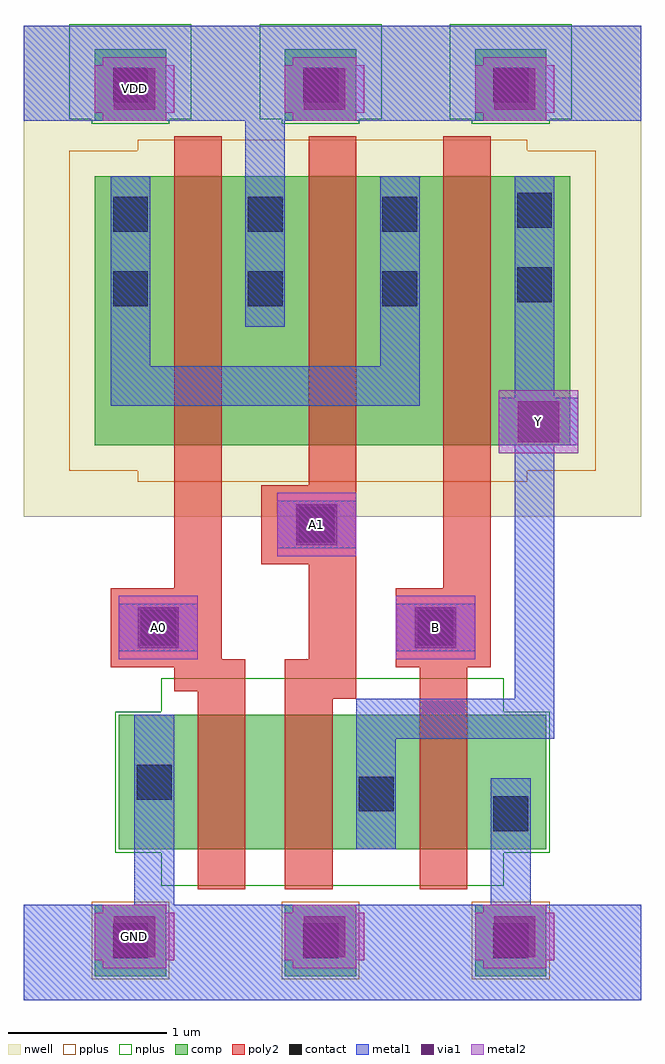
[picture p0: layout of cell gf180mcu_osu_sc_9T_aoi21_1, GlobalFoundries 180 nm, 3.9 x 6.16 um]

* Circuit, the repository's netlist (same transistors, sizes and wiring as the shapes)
* NGSPICE file created from gf180mcu_osu_sc_9T_aoi21_1.ext - technology: gf180mcuC

.inc "/import/yukari1/lrburle/globalfoundries-pdk-libs-gf180mcu_osu_sc/char/techfiles/design.hspice"
.lib "/import/yukari1/lrburle/globalfoundries-pdk-libs-gf180mcu_osu_sc/char/techfiles/sm141064.hspice" typical

X0 a_9_70# A1 VDD VDD pmos_3p3 w=1.7u l=0.3u
X1 GND B Y GND nmos_3p3 w=0.85u l=0.3u
X2 Y B a_9_70# VDD pmos_3p3 w=1.7u l=0.3u
X3 VDD A0 a_9_70# VDD pmos_3p3 w=1.7u l=0.3u
X4 a_28_19# A0 GND GND nmos_3p3 w=0.85u l=0.3u
X5 Y A1 a_28_19# GND nmos_3p3 w=0.85u l=0.3u

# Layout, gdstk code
import gdstk
lib = gdstk.Library(unit=1e-6, precision=1e-09)
def R(c, l, rs):  # rectangles x0, y0, x1, y1
    for r in rs: c.add(gdstk.rectangle(r[:2], r[2:], *l))
def A(c, l, x, y, w, h, nx, ny, dx, dy):  # array of equal rectangles
    R(c, l, [(x+i*dx, y+j*dy, x+i*dx+w, y+j*dy+h) for i in range(nx) for j in range(ny)])
nwell = (21, 0)
comp = (22, 0)
poly2 = (30, 0)
pplus = (31, 0)
nplus = (32, 0)
contact = (33, 0)
metal1 = (34, 0)
via1 = (35, 0)
metal2 = (36, 0)

gf180mcu_osu_sc_9t_aoi21 = lib.new_cell('gf180mcu_osu_sc_9T_aoi21_1')
R(gf180mcu_osu_sc_9t_aoi21, nwell, [(0,3.05,3.9,6.15)])
A(gf180mcu_osu_sc_9t_aoi21, comp, 0.45, 0.15, 0.45, 0.45, 3, 2, 1.2, 5.4)
R(gf180mcu_osu_sc_9t_aoi21, comp, [(0.6,0.95,3.3,1.8), (0.45,3.5,3.45,5.2)])
R(gf180mcu_osu_sc_9t_aoi21, poly2, [(1.1,0.7,1.4,1.95), (1.65,0.7,1.95,1.9), (2.5,0.7,2.8,2.1), (1.65,1.9,2.1,2.15), (0.95,1.95,1.4,2.1), (0.55,2.1,1.4,2.15), (2.35,2.1,2.95,2.6), (0.55,2.15,1.25,2.6), (1.8,2.15,2.1,2.75), (0.95,2.6,1.25,5.45), (2.65,2.6,2.95,5.45), (1.5,2.75,2.1,3.25), (1.8,3.25,2.1,5.45)])
A(gf180mcu_osu_sc_9t_aoi21, pplus, 0.43, 0.13, 0.49, 0.49, 3, 1, 1.2, 0)
R(gf180mcu_osu_sc_9t_aoi21, pplus, [(0.72,3.27,3.18,3.34), (0.29,3.34,3.61,5.36), (0.72,5.36,3.18,5.43)])
A(gf180mcu_osu_sc_9t_aoi21, nplus, 0.43, 5.53, 0.49, 0.03, 3, 1, 1.2, 0)
A(gf180mcu_osu_sc_9t_aoi21, nplus, 0.29, 5.56, 0.77, 0.6, 3, 1, 1.2, 0)
R(gf180mcu_osu_sc_9t_aoi21, nplus, [(0.87,0.72,3.03,0.93), (0.58,0.93,3.32,1.82), (0.87,1.82,3.03,2.03)])
A(gf180mcu_osu_sc_9t_aoi21, contact, 0.565, 0.265, 0.22, 0.22, 3, 2, 1.2, 5.4)
A(gf180mcu_osu_sc_9t_aoi21, contact, 0.565, 4.38, 0.22, 0.22, 3, 2, 0.85, 0.47)
R(gf180mcu_osu_sc_9t_aoi21, contact, [(2.965,1.065,3.185,1.285), (2.115,1.19,2.335,1.41), (0.715,1.265,0.935,1.485), (0.74,2.24,0.96,2.46), (2.49,2.24,2.71,2.46), (1.74,2.89,1.96,3.11), (3.115,4.405,3.335,4.625), (3.115,4.875,3.335,5.095)])
R(gf180mcu_osu_sc_9t_aoi21, metal1, [(0,0,3.9,0.6), (0.7,0.6,0.95,1.8), (2.95,0.6,3.2,1.4), (2.1,0.95,2.35,1.65), (2.1,1.65,3.35,1.9), (3.1,1.9,3.35,3.5), (0.6,2.2,1.1,2.5), (2.35,2.2,2.85,2.5), (1.6,2.85,2.1,3.15), (3,3.5,3.5,3.8), (0.55,3.75,2.5,4), (3.1,3.8,3.35,5.2), (0.55,4,0.8,5.2), (2.25,4,2.5,5.2), (1.4,4.25,1.65,5.55), (0,5.55,3.9,6.15)])
A(gf180mcu_osu_sc_9t_aoi21, via1, 0.57, 0.27, 0.26, 0.26, 3, 2, 1.2, 5.35)
R(gf180mcu_osu_sc_9t_aoi21, via1, [(0.72,2.22,0.98,2.48), (2.47,2.22,2.73,2.48), (1.72,2.87,1.98,3.13), (3.12,3.52,3.38,3.78)])
A(gf180mcu_osu_sc_9t_aoi21, metal2, 0.5, 0.2, 0.4, 0.05, 3, 2, 1.2, 0.35)
A(gf180mcu_osu_sc_9t_aoi21, metal2, 0.45, 0.25, 0.5, 0.3, 3, 2, 1.2, 5.35)
A(gf180mcu_osu_sc_9t_aoi21, metal2, 0.5, 5.55, 0.4, 0.05, 3, 2, 1.2, 0.35)
R(gf180mcu_osu_sc_9t_aoi21, metal2, [(0.6,2.15,1.1,2.55), (2.35,2.15,2.85,2.55), (1.6,2.8,2.1,3.2), (3,3.45,3.5,3.85)])
gf180mcu_osu_sc_9t_aoi21.add(gdstk.Label('VDD', (0.7,5.75), layer=36, texttype=0))
gf180mcu_osu_sc_9t_aoi21.add(gdstk.Label('GND', (0.7,0.4), layer=36, texttype=0))
gf180mcu_osu_sc_9t_aoi21.add(gdstk.Label('Y', (3.25,3.65), layer=36, texttype=10))
gf180mcu_osu_sc_9t_aoi21.add(gdstk.Label('A0', (0.85,2.35), layer=36, texttype=10))
gf180mcu_osu_sc_9t_aoi21.add(gdstk.Label('A1', (1.85,3), layer=36, texttype=10))
gf180mcu_osu_sc_9t_aoi21.add(gdstk.Label('B', (2.6,2.35), layer=36, texttype=10))

lib.write_gds('gf180mcu_osu_sc_9T_aoi21_1.gds')
